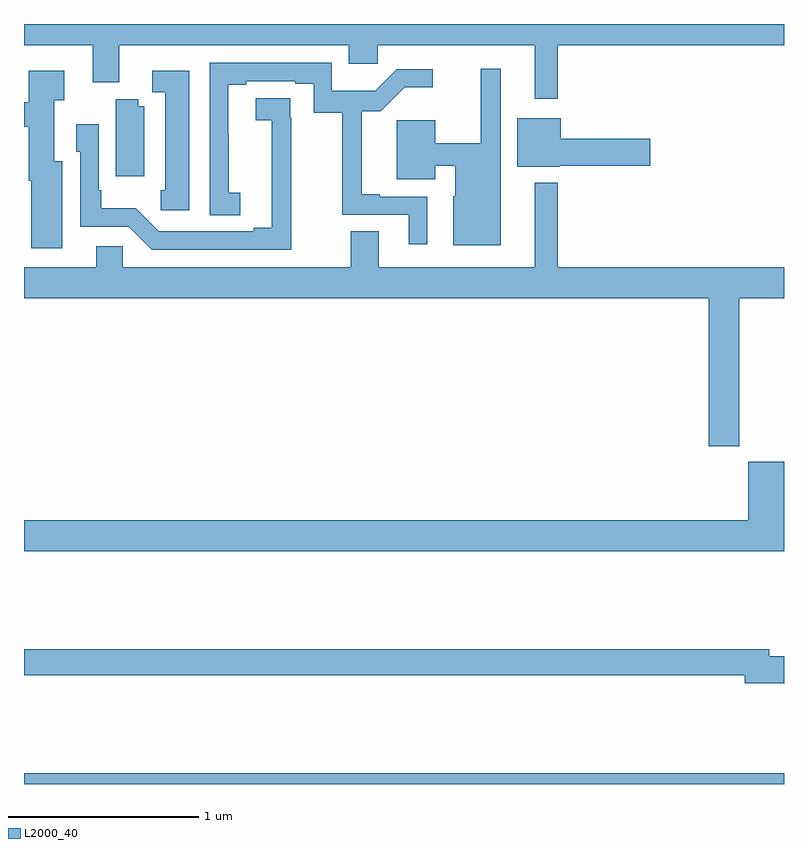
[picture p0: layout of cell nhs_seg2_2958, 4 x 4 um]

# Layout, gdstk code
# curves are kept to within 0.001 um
import gdstk
lib = gdstk.Library(unit=1e-6, precision=1e-09)
def R(c, l, rs):  # rectangles x0, y0, x1, y1
    for r in rs: c.add(gdstk.rectangle(r[:2], r[2:], *l))
def P(c, l, *ps):  # polygons
    for p in ps: c.add(gdstk.Polygon(p, *l))
L2000_40 = (2000, 40)

nhs_seg2_2958 = lib.new_cell('nhs_seg2_2958')
R(nhs_seg2_2958, L2000_40, [(267,591.8,271,591.856)])
P(nhs_seg2_2958, L2000_40, [(269.809,595.688),(271,595.688),(271,595.8),(267,595.8),(267,595.688),(267.362,595.688),(267.362,595.494),(267.502,595.494),(267.502,595.688),(268.709,595.688),(268.709,595.59),(268.861,595.59),(268.861,595.688),(269.687,595.688),(269.687,595.407),(269.809,595.407)],
  [(269.122,594.891),(268.873,594.891),(268.873,594.904),(268.778,594.904),(268.778,595.341),(268.877,595.341),(269.003,595.466),(269.152,595.466),(269.152,595.563),(268.962,595.563),(268.849,595.45),(268.62,595.45),(268.62,595.596),(267.978,595.596),(267.978,594.793),(268.138,594.793),(268.138,594.913),(268.077,594.913),(268.077,595.217),(268.075,595.217),(268.075,595.48),(268.171,595.48),(268.171,595.5),(268.427,595.5),(268.427,595.486),(268.524,595.486),(268.524,595.333),(268.675,595.333),(268.675,594.795),(269.024,594.795),(269.024,594.642),(269.122,594.642)],
  [(269.509,595.564),(269.405,595.564),(269.405,595.172),(269.164,595.172),(269.164,595.293),(268.961,595.293),(268.961,594.983),(269.164,594.983),(269.164,595.055),(269.27,595.055),(269.27,594.894),(269.258,594.894),(269.258,594.635),(269.509,594.635)],
  [(267.871,595.555),(267.675,595.555),(267.675,595.44),(267.743,595.44),(267.743,594.924),(267.721,594.924),(267.721,594.819),(267.871,594.819)],
  [(267.202,595.078),(267.16,595.078),(267.16,595.399),(267.211,595.399),(267.211,595.555),(267.026,595.555),(267.026,595.387),(267,595.387),(267,595.258),(267.026,595.258),(267.026,594.974),(267.038,594.974),(267.038,594.621),(267.202,594.621)],
  [(268.406,595.307),(268.4,595.307),(268.4,595.409),(268.221,595.409),(268.221,595.294),(268.303,595.294),(268.304,594.728),(268.208,594.728),(268.208,594.708),(267.708,594.708),(267.587,594.829),(267.406,594.829),(267.406,594.925),(267.393,594.925),(267.393,595.273),(267.276,595.273),(267.276,595.128),(267.297,595.128),(267.297,594.732),(267.552,594.732),(267.672,594.612),(268.406,594.612)],
  [(267.634,595.366),(267.602,595.366),(267.602,595.403),(267.482,595.403),(267.482,594.999),(267.634,594.999)],
  [(269.82,595.055),(270.295,595.055),(270.295,595.197),(269.824,595.197),(269.824,595.303),(269.597,595.303),(269.597,595.049),(269.82,595.049)],
  [(270.605,593.577),(270.765,593.577),(270.765,594.356),(271,594.356),(271,594.52),(269.809,594.52),(269.809,594.964),(269.687,594.964),(269.687,594.52),(268.867,594.52),(268.867,594.71),(268.72,594.71),(268.72,594.52),(267.519,594.52),(267.519,594.63),(267.38,594.63),(267.38,594.52),(267,594.52),(267,594.356),(270.605,594.356)],
  [(271,593.497),(270.812,593.497),(270.812,593.188),(267,593.188),(267,593.024),(271,593.024)],
  [(271,592.472),(270.922,592.472),(270.922,592.508),(267,592.508),(267,592.372),(270.794,592.372),(270.794,592.33),(271,592.33)])

lib.write_gds('nhs_seg2_2958.gds')
